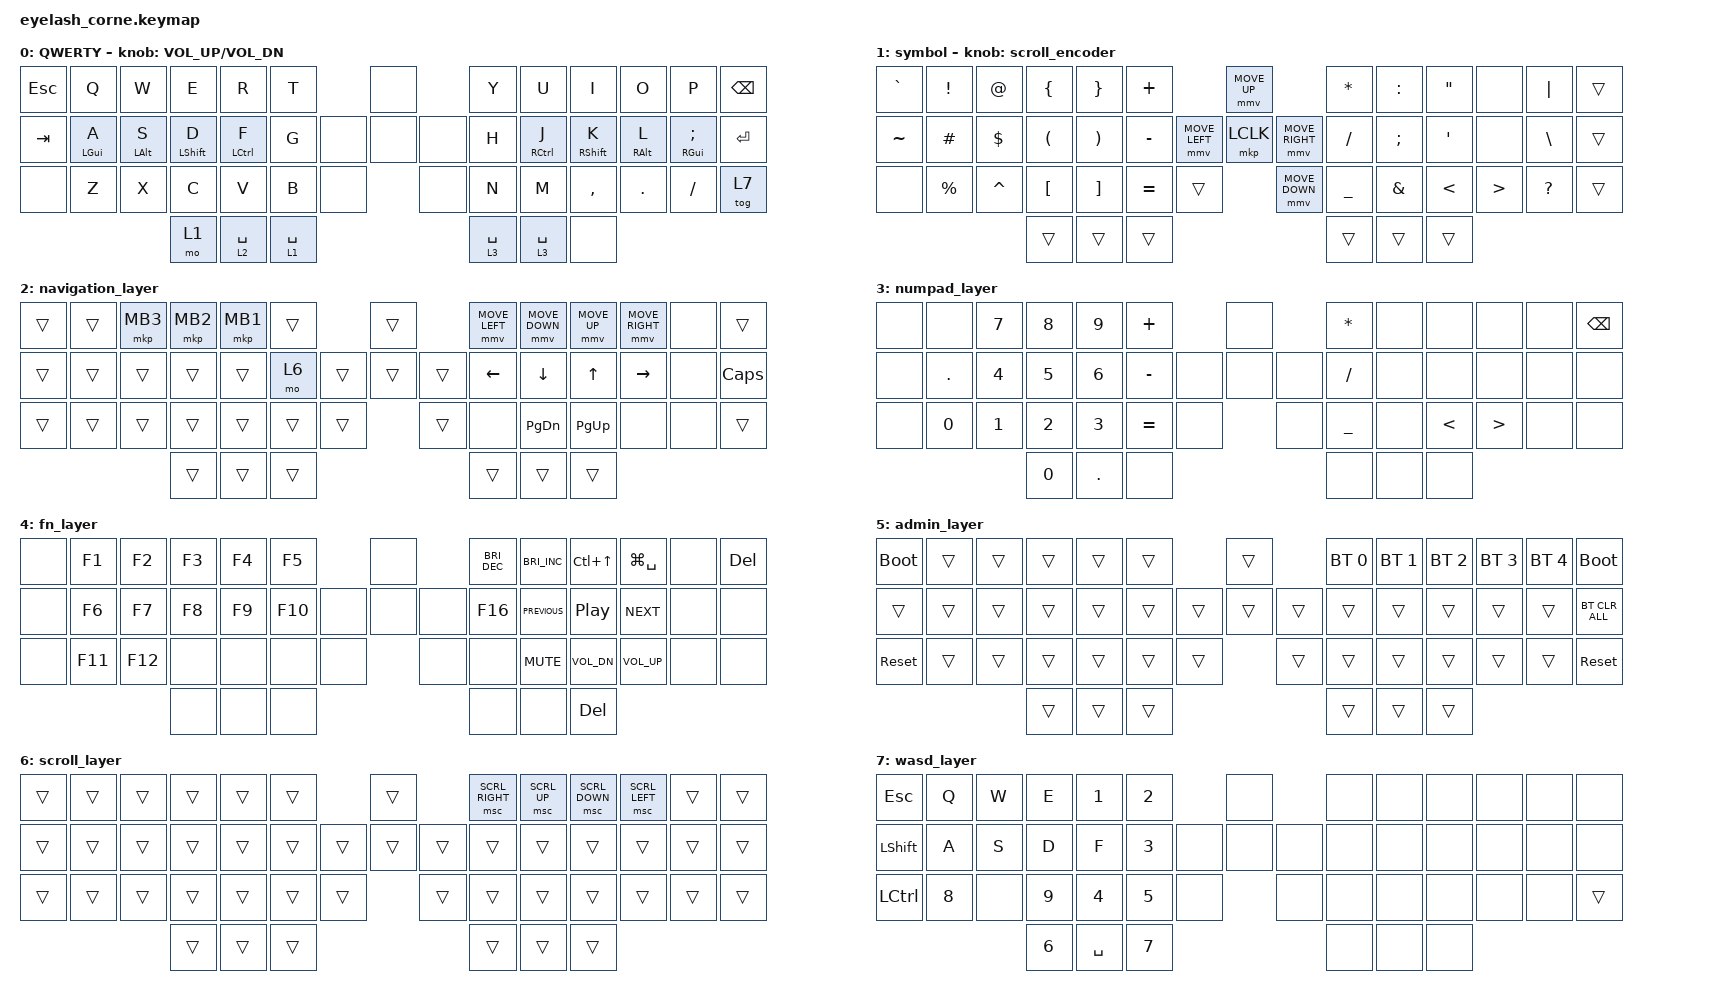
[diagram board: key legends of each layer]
#define ZMK_POINTING_DEFAULT_MOVE_VAL 1200  // 600
#define ZMK_POINTING_DEFAULT_SCRL_VAL 25   // 10

#include <input/processors.dtsi>
#include <zephyr/dt-bindings/input/input-event-codes.h>
#include <behaviors.dtsi>
#include <dt-bindings/zmk/bt.h>
#include <dt-bindings/zmk/keys.h>
#include <dt-bindings/zmk/pointing.h>
#include <dt-bindings/zmk/rgb.h>

&mmv_input_listener { input-processors = <&zip_xy_scaler 2 1>; };

&msc_input_listener { input-processors = <&zip_scroll_scaler 2 1>; };

&msc {
    acceleration-exponent = <1>;      // 0
    time-to-max-speed-ms = <100>;       // 300
    delay-ms = <0>;                   // 0
};

&mmv {
    time-to-max-speed-ms = <500>;
    acceleration-exponent = <1>;
    trigger-period-ms = <16>;
};

&soft_off { hold-time-ms = <2000>; };

/ {
    behaviors {
        hml: hml {
            compatible = "zmk,behavior-hold-tap";
            label = "HML";
            bindings = <&kp>, <&kp>;

            #binding-cells = <2>;
            tapping-term-ms = <280>;
            flavor = "balanced";
            quick-tap-ms = <175>;
            require-prior-idle-ms = <150>;
            hold-trigger-on-release;
            hold-trigger-key-positions = <42 43 44 45 46 47 23 23 24 25 26 7 8 9 10 11 22 23 24 25 26 36 37 38 39 40>;
        };

        hmr: hmr {
            compatible = "zmk,behavior-hold-tap";
            label = "HMR";
            bindings = <&kp>, <&kp>;

            #binding-cells = <2>;
            flavor = "balanced";
            tapping-term-ms = <280>;
            quick-tap-ms = <175>;
            require-prior-idle-ms = <150>;
            hold-trigger-on-release;
            hold-trigger-key-positions = <14 15 16 17 42 43 44 45 46 47 1 2 3 4 14 15 16 17 30 31 32 29 5 18 33>;
        };
    };

    rgb_encoder: rgb_encoder {
        compatible = "zmk,behavior-sensor-rotate";
        #sensor-binding-cells = <0>;
        bindings = <&rgb_ug RGB_BRI>, <&rgb_ug RGB_BRD>;
    };

    scroll_encoder: scroll_encoder {
        compatible = "zmk,behavior-sensor-rotate";
        #sensor-binding-cells = <0>;
        bindings = <&msc SCRL_DOWN>, <&msc SCRL_UP>;

        tap-ms = <100>;
    };

    combos {
        compatible = "zmk,combos";

        fn_layer_left {
            bindings = <&mo 4>;
            key-positions = <32 42>;
        };
    };

    keymap {
        compatible = "zmk,keymap";

        default_layer {
            display-name = "QWERTY";
            bindings = <
&kp ESCAPE  &kp Q            &kp W            &kp E              &kp R         &kp T                        &none         &kp Y        &kp U         &kp I               &kp O             &kp P                &kp BACKSPACE
&kp TAB     &hml LEFT_GUI A  &hml LEFT_ALT S  &hml LEFT_SHIFT D  &hml LCTRL F  &kp G                 &none  &none  &none  &kp H        &hmr RCTRL J  &hmr RIGHT_SHIFT K  &hmr RIGHT_ALT L  &hmr RIGHT_GUI SEMI  &kp ENTER
&none       &kp Z            &kp X            &kp C              &kp V         &kp B        &none           &none         &kp N        &kp M         &kp COMMA           &kp DOT           &kp FSLH             &tog 7
                                              &mo 1              &lt 2 SPACE   &lt 1 SPACE                                &lt 3 SPACE  &lt 3 SPACE   &none
            >;

            sensor-bindings = <&inc_dec_kp C_VOLUME_UP C_VOL_DN>;
        };

        symbol_layer {
            display-name = "symbol";
            bindings = <
&kp GRAVE  &kp EXCL     &kp AT_SIGN  &kp LEFT_BRACE        &kp RIGHT_BRACE        &kp PLUS                             &mmv MOVE_UP                     &kp ASTERISK  &kp COLON      &kp DOUBLE_QUOTES  &none             &kp PIPE       &trans
&kp TILDE  &kp HASH     &kp DOLLAR   &kp LEFT_PARENTHESIS  &kp RIGHT_PARENTHESIS  &kp MINUS            &mmv MOVE_LEFT  &mkp LCLK       &mmv MOVE_RIGHT  &kp SLASH     &kp SEMICOLON  &kp SQT            &none             &kp BACKSLASH  &trans
&none      &kp PERCENT  &kp CARET    &kp LEFT_BRACKET      &kp RIGHT_BRACKET      &kp EQUAL  &trans                    &mmv MOVE_DOWN                   &kp UNDER     &kp AMPERSAND  &kp LESS_THAN      &kp GREATER_THAN  &kp QUESTION   &trans
                                     &trans                &trans                 &trans                                                                &trans        &trans         &trans
            >;

            sensor-bindings = <&scroll_encoder>;
        };

        navigation_layer {
            bindings = <
&trans  &trans  &mkp MB3  &mkp MB2  &mkp MB1  &trans                    &trans          &mmv MOVE_LEFT  &mmv MOVE_DOWN  &mmv MOVE_UP  &mmv MOVE_RIGHT  &none  &trans
&trans  &trans  &trans    &trans    &trans    &mo 6             &trans  &trans  &trans  &kp LEFT        &kp DOWN        &kp UP        &kp RIGHT        &none  &kp CAPSLOCK
&trans  &trans  &trans    &trans    &trans    &trans  &trans            &trans          &none           &kp PAGE_DOWN   &kp PAGE_UP   &none            &none  &trans
                          &trans    &trans    &trans                                    &trans          &trans          &trans
            >;
        };

        numpad_layer {
            bindings = <
&none  &none         &kp N7  &kp N8  &kp N9   &kp PLUS                   &none         &kp STAR        &none  &none          &none             &none  &kp BACKSPACE
&none  &kp PERIOD    &kp N4  &kp N5  &kp N6   &kp MINUS           &none  &none  &none  &kp SLASH       &none  &none          &none             &none  &none
&none  &kp NUMBER_0  &kp N1  &kp N2  &kp N3   &kp EQUAL  &none           &none         &kp UNDERSCORE  &none  &kp LESS_THAN  &kp GREATER_THAN  &none  &none
                             &kp N0  &kp DOT  &none                                    &none           &none  &none
            >;
        };

        fn_layer {
            bindings = <
&none  &kp F1   &kp F2   &kp F3  &kp F4  &kp F5                   &none         &kp C_BRIGHTNESS_DEC  &kp C_BRIGHTNESS_INC  &kp LC(UP_ARROW)  &kp LG(SPACE)  &none  &kp DELETE
&none  &kp F6   &kp F7   &kp F8  &kp F9  &kp F10           &none  &none  &none  &kp F16               &kp C_PREVIOUS        &kp C_PLAY_PAUSE  &kp C_NEXT     &none  &none
&none  &kp F11  &kp F12  &none   &none   &none    &none           &none         &none                 &kp C_MUTE            &kp C_VOL_DN      &kp C_VOL_UP   &none  &none
                         &none   &none   &none                                  &none                 &none                 &kp DELETE
            >;
        };

        admin_layer {
            bindings = <
&bootloader  &trans  &trans  &trans  &trans  &trans                    &trans          &bt BT_SEL 0  &bt BT_SEL 1  &bt BT_SEL 2  &bt BT_SEL 3  &bt BT_SEL 4  &bootloader
&trans       &trans  &trans  &trans  &trans  &trans            &trans  &trans  &trans  &trans        &trans        &trans        &trans        &trans        &bt BT_CLR_ALL
&sys_reset   &trans  &trans  &trans  &trans  &trans  &trans            &trans          &trans        &trans        &trans        &trans        &trans        &sys_reset
                             &trans  &trans  &trans                                    &trans        &trans        &trans
            >;
        };

        scroll_layer {
            bindings = <
&trans  &trans  &trans  &trans  &trans  &trans                    &trans          &msc SCRL_RIGHT  &msc SCRL_UP  &msc SCRL_DOWN  &msc SCRL_LEFT  &trans  &trans
&trans  &trans  &trans  &trans  &trans  &trans            &trans  &trans  &trans  &trans           &trans        &trans          &trans          &trans  &trans
&trans  &trans  &trans  &trans  &trans  &trans  &trans            &trans          &trans           &trans        &trans          &trans          &trans  &trans
                        &trans  &trans  &trans                                    &trans           &trans        &trans
            >;
        };

        wasd_layer {
            bindings = <
&kp ESCAPE  &kp Q   &kp W  &kp E   &kp NUMBER_1  &kp NUMBER_2                  &none         &none  &none  &none  &none  &none  &none
&kp LSHFT   &kp A   &kp S  &kp D   &kp F         &kp NUMBER_3           &none  &none  &none  &none  &none  &none  &none  &none  &none
&kp LCTRL   &kp N8  &none  &kp N9  &kp NUMBER_4  &kp N5        &none           &none         &none  &none  &none  &none  &none  &trans
                           &kp N6  &kp SPACE     &kp N7                                      &none  &none  &none
            >;
        };
    };

    conditional_layers {
        compatible = "zmk,conditional-layers";

        admin_time {
            if-layers = <1 2 3>;
            then-layer = <5>;
        };
    };
};
